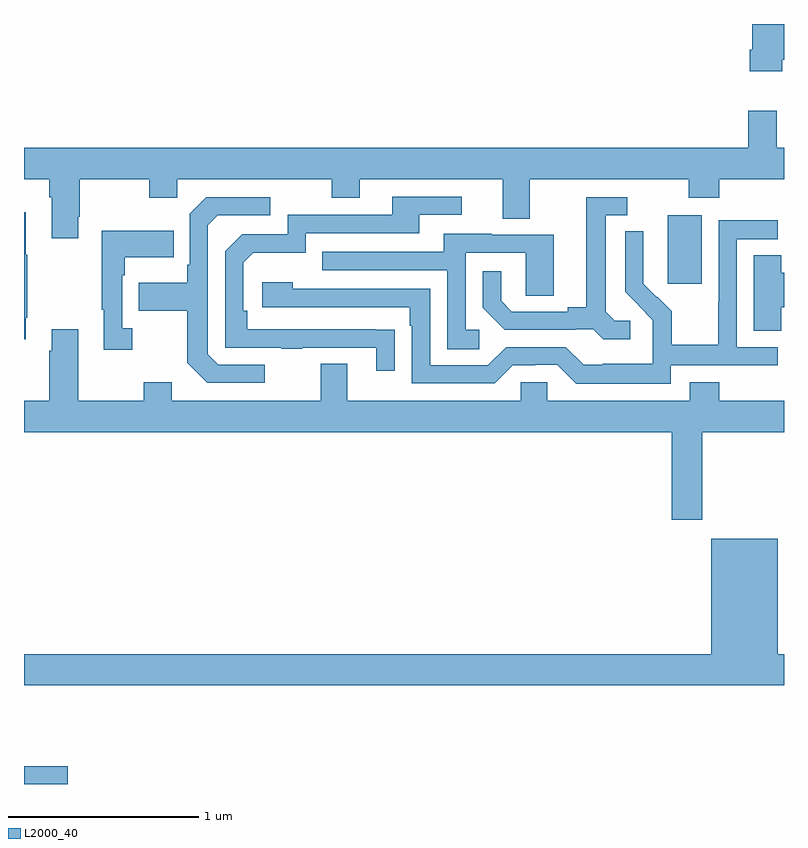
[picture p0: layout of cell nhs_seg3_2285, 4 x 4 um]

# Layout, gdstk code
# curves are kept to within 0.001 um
import gdstk
lib = gdstk.Library(unit=1e-6, precision=1e-09)
def R(c, l, rs):  # rectangles x0, y0, x1, y1
    for r in rs: c.add(gdstk.rectangle(r[:2], r[2:], *l))
def P(c, l, *ps):  # polygons
    for p in ps: c.add(gdstk.Polygon(p, *l))
L2000_40 = (2000, 40)

nhs_seg3_2285 = lib.new_cell('nhs_seg3_2285')
R(nhs_seg3_2285, L2000_40, [(229,696.4,229.229,696.493), (232.388,699.033,232.567,699.394)])
P(nhs_seg3_2285, L2000_40, [(232.99,700.212),(233,700.212),(233,700.4),(232.832,700.4),(232.832,700.264),(232.82,700.264),(232.82,700.152),(232.99,700.152)],
  [(229.285,699.385),(229.293,699.385),(229.293,699.584),(229.66,699.584),(229.66,699.485),(229.806,699.485),(229.806,699.584),(230.62,699.584),(230.62,699.485),(230.767,699.485),(230.767,699.584),(231.521,699.584),(231.521,699.376),(231.661,699.376),(231.661,699.584),(232.498,699.584),(232.498,699.485),(232.658,699.485),(232.658,699.584),(233,699.584),(233,699.748),(232.963,699.748),(232.963,699.943),(232.811,699.943),(232.811,699.748),(229,699.748),(229,699.584),(229.133,699.584),(229.133,699.488),(229.145,699.488),(229.145,699.273),(229.285,699.273)],
  [(230.951,698.792),(230.174,698.793),(230.174,698.89),(230.154,698.89),(230.154,699.144),(230.207,699.197),(230.484,699.197),(230.484,699.3),(231.079,699.3),(231.079,699.396),(231.304,699.396),(231.304,699.492),(230.939,699.492),(230.939,699.396),(230.388,699.396),(230.388,699.294),(230.148,699.294),(230.058,699.204),(230.058,698.697),(230.353,698.697),(230.353,698.692),(230.465,698.692),(230.465,698.697),(230.855,698.697),(230.855,698.574),(230.951,698.574)],
  [(230.266,698.607),(230.022,698.607),(229.968,698.661),(229.968,699.342),(230.019,699.393),(230.296,699.393),(230.296,699.489),(229.959,699.489),(229.872,699.402),(229.872,699.133),(229.86,699.133),(229.86,699.037),(229.603,699.037),(229.603,698.89),(229.86,698.89),(229.86,698.617),(229.965,698.511),(230.266,698.511)],
  [(232.192,698.838),(232.11,698.838),(232.063,698.885),(232.063,699.393),(232.174,699.393),(232.174,699.489),(231.959,699.489),(231.959,698.909),(231.863,698.909),(231.863,698.886),(231.568,698.886),(231.511,698.943),(231.511,699.1),(231.414,699.1),(231.414,698.906),(231.53,698.79),(231.902,698.79),(231.902,698.793),(231.996,698.793),(232.048,698.741),(232.192,698.741)],
  [(229.009,698.854),(229.017,698.854),(229.017,699.185),(229.009,699.185),(229.009,699.409),(229,699.409),(229,698.742),(229.009,698.742)],
  [(232.404,698.604),(232.966,698.604),(232.966,698.7),(232.752,698.7),(232.752,699.267),(232.966,699.267),(232.966,699.366),(232.656,699.366),(232.656,698.936),(232.654,698.936),(232.654,698.713),(232.409,698.713),(232.409,698.887),(232.332,698.964),(232.329,698.961),(232.259,699.032),(232.26,699.308),(232.164,699.308),(232.164,698.99),(232.31,698.842),(232.31,698.745),(232.308,698.745),(232.308,698.611),(232.045,698.611),(232.045,698.607),(231.945,698.607),(231.852,698.7),(231.537,698.7),(231.441,698.604),(231.138,698.604),(231.138,699.006),(230.414,699.006),(230.414,699.04),(230.253,699.04),(230.253,698.91),(231.029,698.91),(231.029,698.813),(231.042,698.813),(231.042,698.508),(231.477,698.508),(231.573,698.604),(231.692,698.604),(231.692,698.607),(231.807,698.607),(231.907,698.507),(232.404,698.507)],
  [(229.57,698.798),(229.518,698.798),(229.518,699.077),(229.531,699.077),(229.531,699.173),(229.787,699.173),(229.787,699.313),(229.41,699.313),(229.41,698.897),(229.421,698.897),(229.421,698.685),(229.57,698.685)],
  [(231.397,698.79),(231.324,698.79),(231.324,699.195),(231.642,699.195),(231.642,698.971),(231.787,698.971),(231.787,699.291),(231.463,699.291),(231.463,699.295),(231.209,699.295),(231.209,699.201),(230.569,699.201),(230.569,699.105),(231.228,699.105),(231.228,698.689),(231.397,698.689)],
  [(232.985,698.909),(233,698.909),(233,699.092),(232.985,699.092),(232.985,699.182),(232.841,699.182),(232.841,698.785),(232.985,698.785)],
  [(232.569,698.252),(233,698.252),(233,698.416),(232.658,698.416),(232.658,698.515),(232.505,698.515),(232.505,698.416),(231.753,698.416),(231.753,698.514),(231.615,698.514),(231.615,698.416),(230.701,698.416),(230.701,698.611),(230.561,698.611),(230.561,698.416),(229.777,698.416),(229.777,698.515),(229.63,698.515),(229.63,698.416),(229.285,698.416),(229.285,698.794),(229.145,698.794),(229.145,698.681),(229.133,698.681),(229.133,698.416),(229,698.416),(229,698.252),(232.409,698.252),(232.409,697.791),(232.569,697.791)],
  [(233,697.084),(232.966,697.084),(232.966,697.69),(232.616,697.69),(232.616,697.084),(229,697.084),(229,696.92),(233,696.92)])

lib.write_gds('nhs_seg3_2285.gds')
